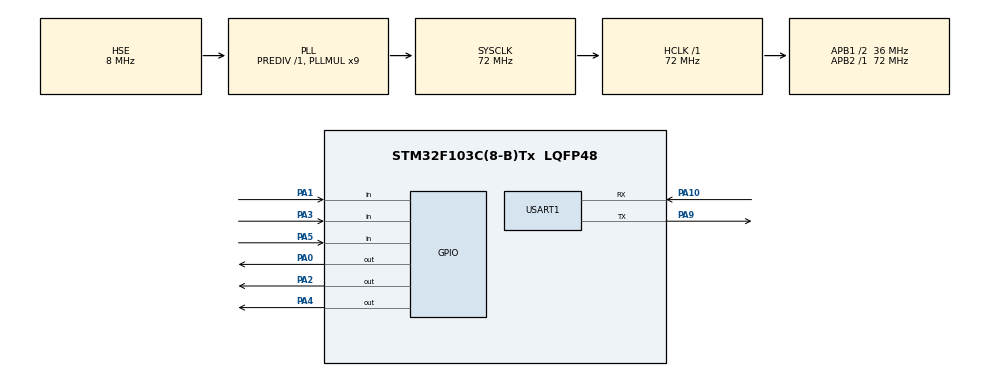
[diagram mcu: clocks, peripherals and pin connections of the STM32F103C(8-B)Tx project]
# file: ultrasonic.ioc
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Mcu.Family=STM32F1
Mcu.Name=STM32F103C(8-B)Tx
Mcu.Package=LQFP48
NVIC.PriorityGroup=NVIC_PRIORITYGROUP_4
PA0-WKUP.Signal=GPIO_Output
PA1.Signal=GPIO_Input
PA10.Mode=Asynchronous
PA10.Signal=USART1_RX
PA2.Signal=GPIO_Output
PA3.Signal=GPIO_Input
PA4.Signal=GPIO_Output
PA5.Signal=GPIO_Input
PA9.Mode=Asynchronous
PA9.Signal=USART1_TX
PD0-OSC_IN.Mode=HSE-External-Oscillator
PD0-OSC_IN.Signal=RCC_OSC_IN
PD1-OSC_OUT.Mode=HSE-External-Oscillator
PD1-OSC_OUT.Signal=RCC_OSC_OUT
ProjectManager.HeapSize=0x200
ProjectManager.StackSize=0x400
ProjectManager.TargetToolchain=STM32CubeIDE
RCC.AHBFreq_Value=72000000
RCC.APB1CLKDivider=RCC_HCLK_DIV2
RCC.APB1Freq_Value=36000000
RCC.APB1TimFreq_Value=72000000
RCC.APB2Freq_Value=72000000
RCC.APB2TimFreq_Value=72000000
RCC.HCLKFreq_Value=72000000
RCC.PLLMUL=RCC_PLL_MUL9
RCC.PLLSourceVirtual=RCC_PLLSOURCE_HSE
RCC.SYSCLKFreq_VALUE=72000000
RCC.SYSCLKSource=RCC_SYSCLKSOURCE_PLLCLK
RCC.USBFreq_Value=72000000
USART1.VirtualMode=VM_ASYNC
VP_SYS_VS_ND.Mode=No_Debug
VP_TIM2_VS_ClockSourceINT.Mode=Internal
board=custom

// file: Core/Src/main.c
/* USER CODE BEGIN Header */
/**
  ******************************************************************************
  * @file           : main.c
  * @brief          : Main program body
  ******************************************************************************
  * @attention
  *
  * Copyright (c) 2026 STMicroelectronics.
  * All rights reserved.
  *
  * This software is licensed under terms that can be found in the LICENSE file
  * in the root directory of this software component.
  * If no LICENSE file comes with this software, it is provided AS-IS.
  *
  ******************************************************************************
  */
/* USER CODE END Header */
#include "main.h"
#include <stdio.h>
float left_distance;
float front_distance;
float right_distance;

TIM_HandleTypeDef htim2;

UART_HandleTypeDef huart1;
int __io_putchar(int ch)
{
    HAL_UART_Transmit(&huart1, (uint8_t *)&ch, 1, HAL_MAX_DELAY);
    return ch;
}

/* USER CODE BEGIN PV */
uint32_t distance = 0;
uint32_t time = 0;

void delay_us(uint16_t us)
{
    __HAL_TIM_SET_COUNTER(&htim2, 0);

    while (__HAL_TIM_GET_COUNTER(&htim2) < us);
}

float ultrasonic_read(GPIO_TypeDef*TrigPort,uint16_t TrigPin,GPIO_TypeDef*EchoPort,uint16_t EchoPin)
{
    uint32_t start = 0;
    uint32_t stop = 0;
    uint32_t time = 0;
    float distance = 0;

    HAL_GPIO_WritePin(TrigPort,TrigPin, GPIO_PIN_RESET);
    delay_us(2);

    HAL_GPIO_WritePin(TrigPort,TrigPin, GPIO_PIN_SET);
    delay_us(10);

    HAL_GPIO_WritePin(TrigPort,TrigPin,GPIO_PIN_RESET);

    uint32_t timeout = HAL_GetTick();

    while(!(HAL_GPIO_ReadPin(EchoPort, EchoPin)))
    {
        if((HAL_GetTick() - timeout) > 100)
        {
            return -1;
        }
    }

    start = __HAL_TIM_GET_COUNTER(&htim2);

    timeout = HAL_GetTick();

    while(HAL_GPIO_ReadPin(EchoPort, EchoPin))
    {
        if((HAL_GetTick() - timeout) > 100)
        {
            return -1;
        }
    }

    stop = __HAL_TIM_GET_COUNTER(&htim2);

    time = stop - start;

    distance = (time * 0.0343f) / 2.0f;

    return distance;
}

/* USER CODE END PV */

void SystemClock_Config(void);
static void MX_GPIO_Init(void);
static void MX_TIM2_Init(void);
static void MX_USART1_UART_Init(void);

int main(void)
{

  HAL_Init();

  /* Configure the system clock */
  SystemClock_Config();

  /* Initialize all configured peripherals */
  MX_GPIO_Init();
  MX_TIM2_Init();
  HAL_TIM_Base_Start(&htim2);
  MX_USART1_UART_Init();

  /* Infinite loop */
  /* USER CODE BEGIN WHILE */
  while (1)
  {
	  left_distance =
	      ultrasonic_read(GPIOA, GPIO_PIN_0,
	                      GPIOA, GPIO_PIN_1);

	  front_distance =
	      ultrasonic_read(GPIOA, GPIO_PIN_2,
	                      GPIOA, GPIO_PIN_3);

	  right_distance =
	      ultrasonic_read(GPIOA, GPIO_PIN_4,
	                      GPIOA, GPIO_PIN_5);

	  printf("Left = %.2f cm\r\n", left_distance);
	  printf("Front = %.2f cm\r\n", front_distance);
	  printf("Right = %.2f cm\r\n", right_distance);
	  printf("-------------------\r\n");

	  HAL_Delay(500);
  }
  /* USER CODE END 3 */
}

void SystemClock_Config(void)
{
  RCC_OscInitTypeDef RCC_OscInitStruct = {0};
  RCC_ClkInitTypeDef RCC_ClkInitStruct = {0};

  /** Initializes the RCC Oscillators according to the specified parameters
  * in the RCC_OscInitTypeDef structure.
  */
  RCC_OscInitStruct.OscillatorType = RCC_OSCILLATORTYPE_HSE;
  RCC_OscInitStruct.HSEState = RCC_HSE_ON;
  RCC_OscInitStruct.HSEPredivValue = RCC_HSE_PREDIV_DIV1;
  RCC_OscInitStruct.HSIState = RCC_HSI_ON;
  RCC_OscInitStruct.PLL.PLLState = RCC_PLL_ON;
  RCC_OscInitStruct.PLL.PLLSource = RCC_PLLSOURCE_HSE;
  RCC_OscInitStruct.PLL.PLLMUL = RCC_PLL_MUL9;
  if (HAL_RCC_OscConfig(&RCC_OscInitStruct) != HAL_OK)
  {
    Error_Handler();
  }

  /** Initializes the CPU, AHB and APB buses clocks
  */
  RCC_ClkInitStruct.ClockType = RCC_CLOCKTYPE_HCLK|RCC_CLOCKTYPE_SYSCLK
                              |RCC_CLOCKTYPE_PCLK1|RCC_CLOCKTYPE_PCLK2;
  RCC_ClkInitStruct.SYSCLKSource = RCC_SYSCLKSOURCE_PLLCLK;
  RCC_ClkInitStruct.AHBCLKDivider = RCC_SYSCLK_DIV1;
  RCC_ClkInitStruct.APB1CLKDivider = RCC_HCLK_DIV2;
  RCC_ClkInitStruct.APB2CLKDivider = RCC_HCLK_DIV1;

  if (HAL_RCC_ClockConfig(&RCC_ClkInitStruct, FLASH_LATENCY_2) != HAL_OK)
  {
    Error_Handler();
  }
}

static void MX_TIM2_Init(void)
{

  TIM_ClockConfigTypeDef sClockSourceConfig = {0};
  TIM_MasterConfigTypeDef sMasterConfig = {0};

  htim2.Instance = TIM2;
  htim2.Init.Prescaler = 0;
  htim2.Init.CounterMode = TIM_COUNTERMODE_UP;
  htim2.Init.Period = 65535;
  htim2.Init.ClockDivision = TIM_CLOCKDIVISION_DIV1;
  htim2.Init.AutoReloadPreload = TIM_AUTORELOAD_PRELOAD_DISABLE;
  if (HAL_TIM_Base_Init(&htim2) != HAL_OK)
  {
    Error_Handler();
  }
  sClockSourceConfig.ClockSource = TIM_CLOCKSOURCE_INTERNAL;
  if (HAL_TIM_ConfigClockSource(&htim2, &sClockSourceConfig) != HAL_OK)
  {
    Error_Handler();
  }
  sMasterConfig.MasterOutputTrigger = TIM_TRGO_RESET;
  sMasterConfig.MasterSlaveMode = TIM_MASTERSLAVEMODE_DISABLE;
  if (HAL_TIMEx_MasterConfigSynchronization(&htim2, &sMasterConfig) != HAL_OK)
  {
    Error_Handler();
  }

}

static void MX_USART1_UART_Init(void)
{

  huart1.Instance = USART1;
  huart1.Init.BaudRate = 115200;
  huart1.Init.WordLength = UART_WORDLENGTH_8B;
  huart1.Init.StopBits = UART_STOPBITS_1;
  huart1.Init.Parity = UART_PARITY_NONE;
  huart1.Init.Mode = UART_MODE_TX_RX;
  huart1.Init.HwFlowCtl = UART_HWCONTROL_NONE;
  huart1.Init.OverSampling = UART_OVERSAMPLING_16;
  if (HAL_UART_Init(&huart1) != HAL_OK)
  {
    Error_Handler();
  }

}

static void MX_GPIO_Init(void)
{
  GPIO_InitTypeDef GPIO_InitStruct = {0};

  /* GPIO Ports Clock Enable */
  __HAL_RCC_GPIOD_CLK_ENABLE();
  __HAL_RCC_GPIOA_CLK_ENABLE();

  /*Configure GPIO pin Output Level */
  HAL_GPIO_WritePin(GPIOA, GPIO_PIN_0|GPIO_PIN_2|GPIO_PIN_4, GPIO_PIN_RESET);

  /*Configure GPIO pins : PA0 PA2 PA4 */
  GPIO_InitStruct.Pin = GPIO_PIN_0|GPIO_PIN_2|GPIO_PIN_4;
  GPIO_InitStruct.Mode = GPIO_MODE_OUTPUT_PP;
  GPIO_InitStruct.Pull = GPIO_NOPULL;
  GPIO_InitStruct.Speed = GPIO_SPEED_FREQ_LOW;
  HAL_GPIO_Init(GPIOA, &GPIO_InitStruct);

  /*Configure GPIO pins : PA1 PA3 PA5 */
  GPIO_InitStruct.Pin = GPIO_PIN_1|GPIO_PIN_3|GPIO_PIN_5;
  GPIO_InitStruct.Mode = GPIO_MODE_INPUT;
  GPIO_InitStruct.Pull = GPIO_NOPULL;
  HAL_GPIO_Init(GPIOA, &GPIO_InitStruct);

}

void Error_Handler(void)
{
  __disable_irq();
  while (1)
  {
  }
}
